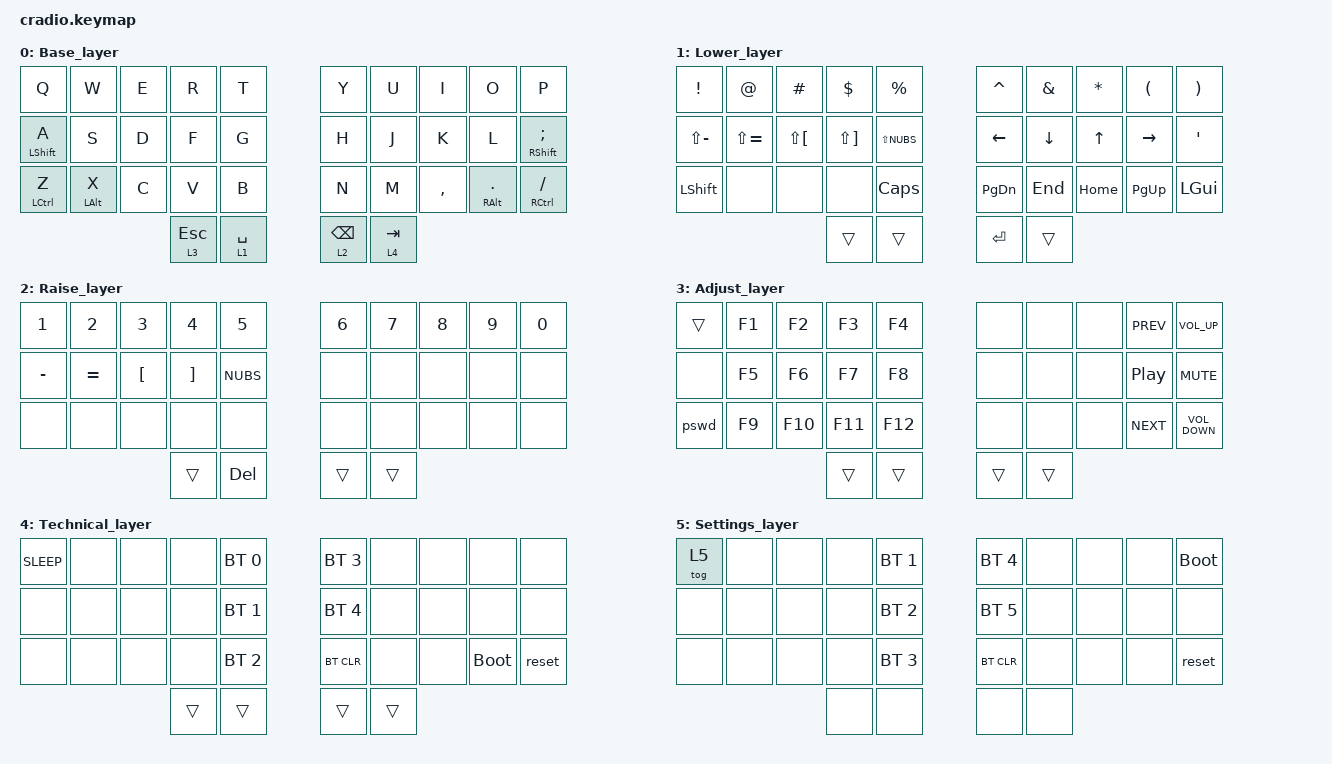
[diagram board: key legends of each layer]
#include <behaviors.dtsi>
#include <dt-bindings/zmk/keys.h>
#include <dt-bindings/zmk/bt.h>

#define BASE 0
#define LOWER 1
#define RAISE 2
#define ADJUST 3
#define TECHNICAL 4
#define SETTINGS 5

/ {
    combos {
        compatible = "zmk,combos";

        combo_Esc {
            timeout-ms = <50>;
            key-positions = <0 1>;
            layers = <0 0 0>;
            bindings = <&kp ESC>;
        };

        combo_Bksp {
            timeout-ms = <50>;
            key-positions = <8 9>;
            layers = <0 0 0>;
            bindings = <&kp BSPC>;
        };

        combo_Enter {
            timeout-ms = <50>;
            key-positions = <15 16>;
            layers = <0 0 0>;
            bindings = <&kp RET>;
        };

        combo_Tab {
            timeout-ms = <50>;
            key-positions = <13 14>;
            layers = <0 0 0>;
            bindings = <&kp TAB>;
        };

        gui_Short {
            bindings = <&kp LEFT_GUI>;
            key-positions = <28 29>;
            layers = <0>;
        };

        parenth_left {
            bindings = <&kp LEFT_PARENTHESIS>;
            key-positions = <4 14>;
            layers = <0 1 2>;
        };

        parenth_right {
            bindings = <&kp RIGHT_PARENTHESIS>;
            key-positions = <5 15>;
            layers = <0 1 2>;
        };

        brckt_left {
            bindings = <&kp LEFT_BRACKET>;
            key-positions = <3 13>;
            layers = <0 1 2>;
        };

        brckt_right {
            bindings = <&kp RIGHT_BRACKET>;
            key-positions = <6 16>;
        };

        brace_left {
            bindings = <&kp LEFT_BRACE>;
            key-positions = <2 12>;
            layers = <0 1 2>;
        };

        brace_right {
            bindings = <&kp RIGHT_BRACE>;
            key-positions = <7 17>;
            layers = <0 1 2>;
        };
    };

    macros {
        pswd: pswd {
            label = "pswd";
            compatible = "zmk,behavior-macro";
            #binding-cells = <0>;
            bindings =
                <&macro_tap>,
                <&kp LS(N) &kp U &kp M &kp NUMBER_3 &kp N &kp NUMBER_3 &kp R &kp AT_SIGN &kp RETURN>;
        };
    };

    behaviors {
        hm: homerow_mods {
            compatible = "zmk,behavior-hold-tap";
            label = "HOMEROW_MODS";
            #binding-cells = <2>;
            tapping-term-ms = <250>;
            quick_tap_ms = <0>;
            flavor = "tap-preferred";
            bindings =
                <&kp>,
                <&kp>;
        };
    };

    keymap {
        compatible = "zmk,keymap";

        Base_layer {
            bindings = <
       &kp Q       &kp W   &kp E      &kp R        &kp T            &kp Y      &kp U      &kp I         &kp O                &kp P
 &hm LSHFT A       &kp S   &kp D      &kp F        &kp G            &kp H      &kp J      &kp K         &kp L  &hm RSHFT SEMICOLON
 &hm LCTRL Z  &hm LALT X   &kp C      &kp V        &kp B            &kp N      &kp M  &kp COMMA  &hm RALT DOT      &hm RCTRL SLASH
                                  &lt 3 ESC  &lt 1 SPACE  &lt 2 BACKSPACE  &lt 4 TAB
            >;
        };

        Lower_layer {
            bindings = <
 &kp EXCLAMATION    &kp AT_SIGN              &kp HASH             &kp DOLLAR   &kp PERCENT      &kp CARET  &kp AMPERSAND  &kp ASTERISK  &kp LEFT_PARENTHESIS  &kp RIGHT_PARENTHESIS
   &kp LS(MINUS)  &kp LS(EQUAL)  &kp LS(LEFT_BRACKET)  &kp LS(RIGHT_BRACKET)  &kp LS(NUBS)       &kp LEFT       &kp DOWN        &kp UP             &kp RIGHT       &kp SINGLE_QUOTE
  &kp LEFT_SHIFT          &none                 &none                  &none  &kp CAPSLOCK  &kp PAGE_DOWN        &kp END      &kp HOME           &kp PAGE_UP           &kp LEFT_GUI
                                                                      &trans        &trans     &kp RETURN         &trans
            >;
        };

        Raise_layer {
            bindings = <
 &kp NUMBER_1  &kp NUMBER_2      &kp NUMBER_3       &kp NUMBER_4  &kp NUMBER_5  &kp NUMBER_6  &kp NUMBER_7  &kp NUMBER_8  &kp NUMBER_9  &kp NUMBER_0
    &kp MINUS     &kp EQUAL  &kp LEFT_BRACKET  &kp RIGHT_BRACKET      &kp NUBS         &none         &none         &none         &none         &none
        &none         &none             &none              &none         &none         &none         &none         &none         &none         &none
                                                          &trans       &kp DEL        &trans        &trans
            >;
        };

        Adjust_layer {
            bindings = <
 &trans  &kp F1   &kp F2   &kp F3   &kp F4   &none   &none   &none  &kp C_PREV    &kp C_VOLUME_UP
  &none  &kp F5   &kp F6   &kp F7   &kp F8   &none   &none   &none    &kp C_PP         &kp C_MUTE
  &pswd  &kp F9  &kp F10  &kp F11  &kp F12   &none   &none   &none  &kp K_NEXT  &kp C_VOLUME_DOWN
                           &trans   &trans  &trans  &trans
            >;
        };

        Technical_layer {
            bindings = <
 &kp C_SLEEP   &none   &none   &none  &bt BT_SEL 0  &bt BT_SEL 3   &none   &none        &none   &none
       &none   &none   &none   &none  &bt BT_SEL 1  &bt BT_SEL 4   &none   &none        &none   &none
       &none   &none   &none   &none  &bt BT_SEL 2    &bt BT_CLR   &none   &none  &bootloader  &reset
                              &trans        &trans        &trans  &trans
            >;
        };

        Settings_layer {
            bindings = <
 &tog 5   &none   &none   &none  &bt BT_SEL 1  &bt BT_SEL 4   &none   &none   &none  &bootloader
  &none   &none   &none   &none  &bt BT_SEL 2  &bt BT_SEL 5   &none   &none   &none        &none
  &none   &none   &none   &none  &bt BT_SEL 3    &bt BT_CLR   &none   &none   &none       &reset
                          &none         &none         &none   &none
            >;
        };
    };
};
